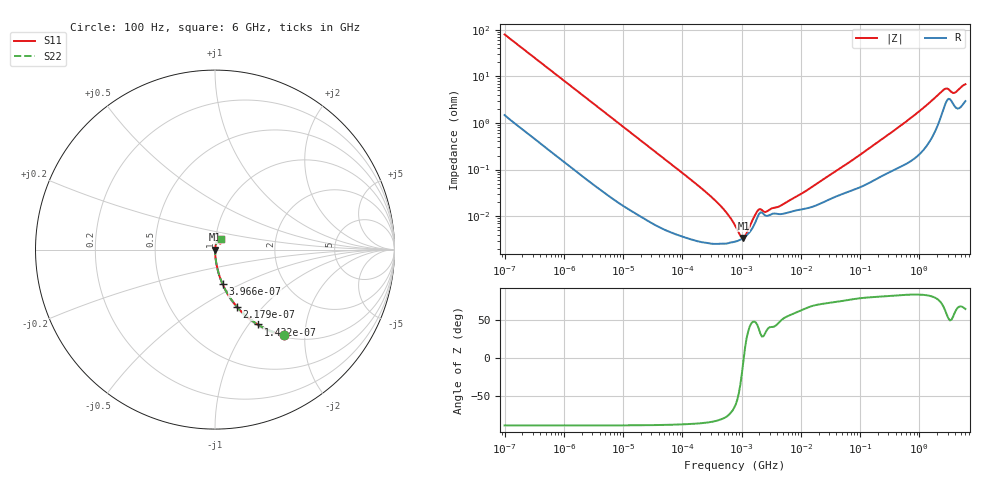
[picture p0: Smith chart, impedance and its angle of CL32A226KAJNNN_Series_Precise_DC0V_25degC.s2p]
! CL32A226KAJNNN Multilayer Ceramic Capacitor Sparameter Model
! Model Generated by Samsung Electro-Mechanics
! Samsung Sparameter Version 5.0
! Date : Jun-19-2026
! Products : Multilayer Ceramic Capacitor(General)
! Characteristics :
!  Nominal Capacitance = 22uF
!  Capacitance Tolerance = ¡¾10%
!  TCC = X5R(-55 ~ +85 degC.)
!  Rated Voltage = 25Vdc
!  Size = 1210(unit:inch), 3225(unit:mm)
!  Length = 3.20¡¾0.30mm
!  Width = 2.50¡¾0.20mm
!  Thickness = 2.50¡¾0.20mm
!  Reliability level = Standard
!  Lineup = Lineup Normal
!  Feature = Features Normal
!  Measurement Temperature : 25degC.
!  DC bias Value = 0V
!  Frequency : 100Hz ~ 6GHz
! External Node Assignments :
!  1  o---||---o  2
# MHz S RI R 50.0
! Freq.  Real(S11)  Im(S11)  Real(S12)  Im(S12)  Real(S21)  Im(S21)  Real(S22)  Im(S22)
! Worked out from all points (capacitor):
!   300 points, 100 Hz to 6 GHz, reference 50 ohm
!   read as one part in series: C = 20.1 uF near 106.2 Hz
!   lowest |Z| = 3.43 mohm at 1.077 MHz (marker M1)
!   series resonance near 1.089 MHz, so ESL is about 1.1 nH
!   S11 on the Smith chart (normalised r, x): 100 Hz: 1.03, -1.58; 143.2 Hz: 1.02, -1.11; 217.9 Hz: 1.01, -0.73; 396.6 Hz: 1.01, -0.40; 6 GHz: 1.06, +0.12
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0.0001  0.3866 -0.4777  0.6134 0.4777  0.6134 0.4777  0.3866 -0.4777
0.0001432463  0.2387 -0.4173  0.7613 0.4173  0.7613 0.4173  0.2387 -0.4173
0.0002178615  0.1225 -0.3188  0.8775 0.3188  0.8775 0.3188  0.1225 -0.3188
0.0003965695  0.0426 -0.193  0.9574 0.193  0.9574 0.193  0.0426 -0.193
0.0008137405  0.0115 -0.0981  0.9885 0.0981  0.9885 0.0981  0.0115 -0.0981
0.001998454  0.0024 -0.0408  0.9976 0.0408  0.9976 0.0408  0.0024 -0.0408
0.03993819  6.34e-05 -0.00211  0.9999 0.00211  0.9999 0.00211  6.34e-05 -0.00211
0.2715393  2.65e-05 -0.000299  1 0.000299  1 0.000299  2.65e-05 -0.000299
0.6280975  2.69e-05 -9.32e-05  1 9.32e-05  1 9.32e-05  2.69e-05 -9.32e-05
0.7981464  2.87e-05 -5.21e-05  1 5.21e-05  1 5.21e-05  2.87e-05 -5.21e-05
1.076842  3.43e-05 -1.83e-06  1 1.83e-06  1 1.83e-06  3.43e-05 -1.83e-06
1.637756  6.58e-05 7.27e-05  0.9999 -7.27e-05  0.9999 -7.27e-05  6.58e-05 7.27e-05
1.960157  0.00011 8.56e-05  0.9999 -8.56e-05  0.9999 -8.56e-05  0.00011 8.56e-05
2.490843  0.000104 6.52e-05  0.9999 -6.52e-05  0.9999 -6.52e-05  0.000104 6.52e-05
4.270427  0.000111 0.000117  0.9999 -0.000117  0.9999 -0.000117  0.000111 0.000117
15.95059  0.00016 0.000406  0.9998 -0.000406  0.9998 -0.000406  0.00016 0.000406
318.7652  0.000921 0.00585  0.9991 -0.00585  0.9991 -0.00585  0.000921 0.00585
994.7976  0.0024 0.0175  0.9976 -0.0175  0.9976 -0.0175  0.0024 0.0175
2593.922  0.0225 0.0456  0.9775 -0.0456  0.9775 -0.0456  0.0225 0.0456
2924.049  0.0313 0.043  0.9687 -0.043  0.9687 -0.043  0.0313 0.043
3945.064  0.0236 0.0362  0.9764 -0.0362  0.9764 -0.0362  0.0236 0.0362
6000  0.032 0.0574  0.968 -0.0574  0.968 -0.0574  0.032 0.0574
